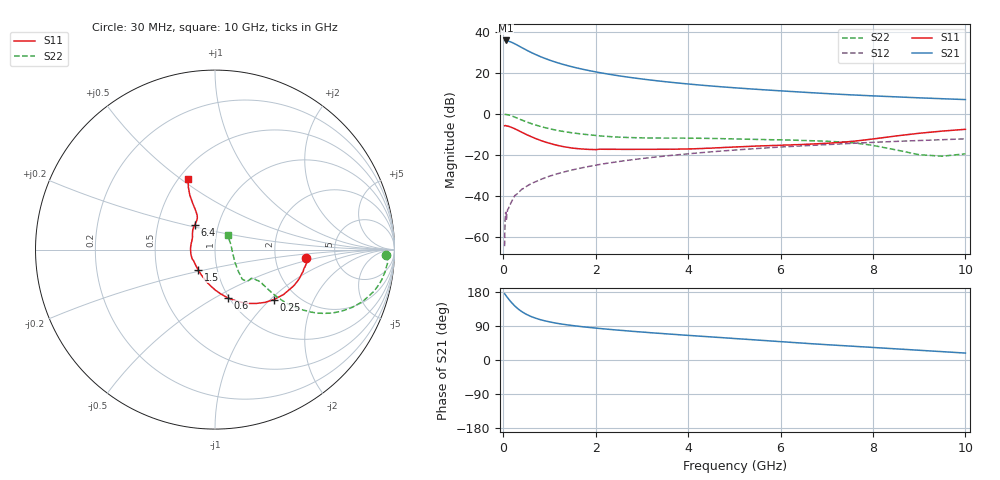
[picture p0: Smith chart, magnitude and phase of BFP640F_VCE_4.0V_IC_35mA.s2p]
! Infineon Technologies  Discrete & RF Semiconductors
! BFP640F
! VCE =  4.0 V,  IC =  35 mA
! Common Emitter S-Parameters:  Apr 2013
# GHz  S  MA  R  50
!  f  S11  S21  S12  S22
! GHz  MAG  ANG  MAG  ANG  MAG  ANG  MAG  ANG
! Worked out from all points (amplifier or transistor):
!   99 points, 30 MHz to 10 GHz, reference 50 ohm
!   highest |S21| = 35.7 dB at 50 MHz (marker M1)
!   |S21| within 3 dB of that: start of sweep to 363.3 MHz
!   unconditionally stable (mu >= 1): start of sweep to 30.63 MHz; 1.707 GHz to end of sweep
!   at 350 MHz: K = 0.54, MSG = 35.4 dB, |S12| = -37.9 dB
!   at 3.5 GHz: K = 1.06, MAG = 16.6 dB, |S12| = -20.6 dB
!   at 10 GHz: K = 1.04, MAG = 8.3 dB, |S12| = -12.2 dB
!   S11 on the Smith chart (normalised r, x): 30 MHz: 3.04, -0.37; 250 MHz: 1.54, -1.05; 600 MHz: 0.99, -0.58; 1.5 GHz: 0.81, -0.18; 6.4 GHz: 0.77, +0.22; 10 GHz: 0.56, +0.53
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0.03  0.5115 -5.0  60.7 174.8  0.0006 56.5  0.9556 -1.8
0.05  0.5152 -8.5  60.72 171.7  0.0039 83.7  0.9652 -4.2
0.09  0.5019 -15.5  59.4 165.0  0.0043 72.9  0.9488 -8.9
0.15  0.4793 -25.7  56.61 155.8  0.0062 81.2  0.9124 -15.0
0.2  0.4564 -33.3  53.6 148.9  0.008 76.5  0.8722 -19.4
0.25  0.4305 -40.3  50.34 142.6  0.0102 74.9  0.8286 -22.9
0.3  0.4053 -46.5  47.02 137.1  0.0112 74.1  0.785 -25.9
0.4  0.3553 -57.6  40.83 127.8  0.0145 73.6  0.7043 -30.3
0.5  0.3126 -66.9  35.53 120.6  0.017 73.6  0.6363 -33.1
0.6  0.2789 -75.1  31.17 114.9  0.0199 73.0  0.5796 -35.0
0.7  0.2496 -82.4  27.61 110.4  0.0222 73.2  0.5324 -36.2
0.9  0.2067 -95.8  22.27 103.4  0.0275 72.8  0.4602 -37.2
1.2  0.1673 -113.8  17.07 96.1  0.0354 72.3  0.3886 -37.1
1.5  0.1459 -130.1  13.8 90.9  0.0431 71.6  0.3428 -36.2
1.7  0.1391 -140.2  12.23 88.0  0.0483 71.0  0.3211 -35.7
2.4  0.1368 -167.1  8.737 79.7  0.0661 68.2  0.2737 -36.7
3.4  0.1371 167.1  6.209 70.2  0.091 63.4  0.256 -40.0
5.1  0.1568 143.0  4.21 55.9  0.1331 54.6  0.2427 -45.4
6.4  0.1771 130.1  3.39 45.2  0.164 47.3  0.2254 -47.2
6.7  0.1838 125.9  3.238 42.7  0.1706 45.6  0.2202 -47.1
8.5  0.2881 115.7  2.576 29.4  0.2125 35.4  0.1319 -32.4
10  0.4186 110.9  2.213 18.3  0.2451 26.7  0.106 48.5
